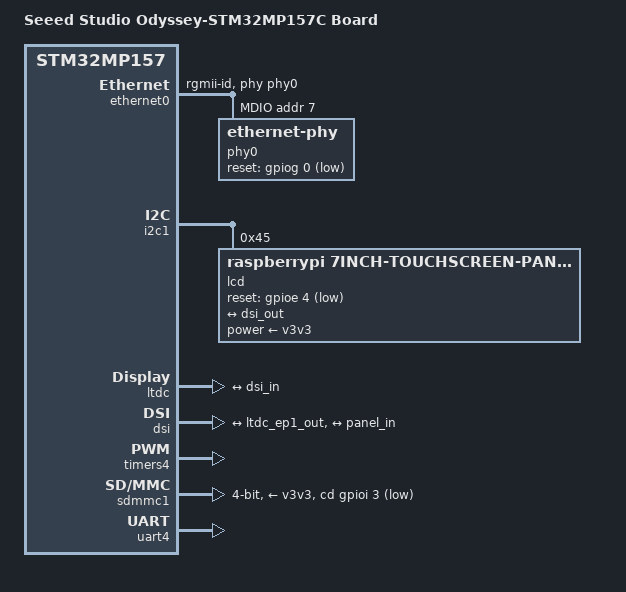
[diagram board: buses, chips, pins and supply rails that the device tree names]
// SPDX-License-Identifier: (GPL-2.0+ OR BSD-3-Clause)
/*
 * Copyright (C) 2020 Marcin Sloniewski <marcin.sloniewski@gmail.com>.
 */

/dts-v1/;

#include "stm32mp157c-odyssey-som.dtsi"
// #include "stm32mp1-seeed-npi-full.dts"

/ {
	model = "Seeed Studio Odyssey-STM32MP157C Board";
	compatible = "seeed,stm32mp157c-odyssey",
		     "seeed,stm32mp157c-odyssey-som", "st,stm32mp157";

	aliases {
		ethernet0 = &ethernet0;
		serial0 = &uart4;

		i2c1	= &i2c4;	/* RPi compatible */
	};

	chosen {
		stdout-path = "serial0:115200n8";
	};
};

&ethernet0 {
	status = "okay";
	pinctrl-0 = <&ethernet0_rgmii_pins_a>;
	pinctrl-1 = <&ethernet0_rgmii_sleep_pins_a>;
	pinctrl-names = "default", "sleep";
	phy-mode = "rgmii-id";
	max-speed = <1000>;
	phy-handle = <&phy0>;
	assigned-clocks = <&rcc ETHCK_K>, <&rcc PLL4_P>;
	assigned-clock-parents = <&rcc PLL4_P>;
	assigned-clock-rates = <125000000>; /* Clock PLL4 to 750Mhz in ATF/U-Boot */
	st,eth-clk-sel;

	mdio0 {
		#address-cells = <1>;
		#size-cells = <0>;
		compatible = "snps,dwmac-mdio";
		phy0: ethernet-phy@7 { /* KSZ9031RN */
			reg = <7>;
			reset-gpios = <&gpiog 0 GPIO_ACTIVE_LOW>; /* ETH_RST# */
			reset-assert-us = <10000>;
			reset-deassert-us = <300>;
		};
	};
};

&i2c1 {
	pinctrl-names = "default", "sleep";
	pinctrl-0 = <&i2c1_pins_b>;
	pinctrl-1 = <&i2c1_sleep_pins_b>;
	i2c-scl-rising-time-ns = <100>;
	i2c-scl-falling-time-ns = <7>;
	status = "okay";
	/delete-property/dmas;
	/delete-property/dma-names;
};

&i2c1 {
	/*
		touchscreen@45 {
			compatible = "edt,edt-ft5406";
			reg = <0x45>;
			interrupts = <2 2>;
			interrupt-parent = <&gpiof>;
			interrupt-controller;
			touchscreen-size-x = <480>;
			touchscreen-size-y = <800>;
			status = "okay";
		};
	*/

	lcd@45 {
		compatible = "raspberrypi,7inch-touchscreen-panel";
		reg = <0x45>;
		reset-gpios = <&gpioe 4 GPIO_ACTIVE_LOW>;
		power-supply= <&v3v3>;
		status = "okay";

		port {
			panel_in: endpoint {
				remote-endpoint = <&dsi_out>;
			};
		};
	};
};

&ltdc {
	status = "okay";

	port {
		#address-cells = <1>;
		#size-cells = <0>;

		ltdc_ep1_out: endpoint@1 {
			reg = <1>;
			remote-endpoint = <&dsi_in>;
		};

	};
};

&dsi {
	status = "okay";

	ports {
		#address-cells = <1>;
		#size-cells = <0>;

		reg = <0>;
		compatible = "raspberrypi,7inch-touchscreen-panel";

		port@0 {
			reg = <0>;
			dsi_in: endpoint {
				remote-endpoint = <&ltdc_ep1_out>;
			};
		};

		port@1 {
			reg = <1>;
			dsi_out: endpoint {
				remote-endpoint = <&panel_in>;
			};
		};
	};
};

&timers4 {
	/delete-property/dmas;
	/delete-property/dma-names;

	status = "okay";

	pwm {
		pinctrl-0 = <&pwm4_pins_a &pwm4_pins_b>;
		pinctrl-1 = <&pwm4_sleep_pins_a &pwm4_sleep_pins_b>;
		pinctrl-names = "default", "sleep";
		status = "okay";
	};
	timer@3 {
		status = "okay";
	};
};

&sdmmc1 {
	pinctrl-names = "default", "opendrain", "sleep";
	pinctrl-0 = <&sdmmc1_b4_pins_a>;
	pinctrl-1 = <&sdmmc1_b4_od_pins_a>;
	pinctrl-2 = <&sdmmc1_b4_sleep_pins_a>;
	cd-gpios = <&gpioi 3 (GPIO_ACTIVE_LOW | GPIO_PULL_UP)>;
	disable-wp;
	st,neg-edge;
	bus-width = <4>;
	vmmc-supply = <&v3v3>;
	status = "okay";
};

&uart4 {
	pinctrl-names = "default";
	pinctrl-0 = <&uart4_pins_a>;
	status = "okay";
};

